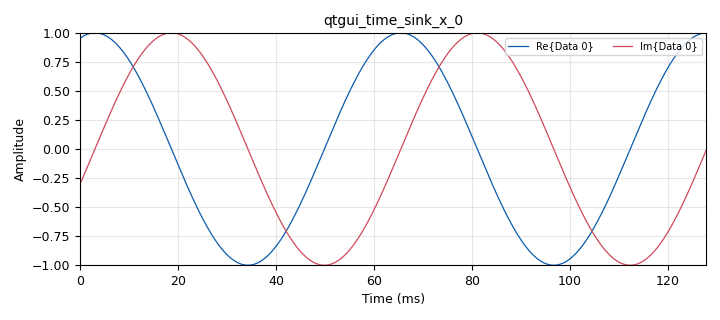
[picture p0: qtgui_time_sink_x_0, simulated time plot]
options:
  parameters:
    generate_options: qt_gui
    id: default
    output_language: python
    title: Not titled yet
  states: {}

blocks:
- name: samp_rate
  id: variable
  parameters:
    value: '32000'
  states: {}
- name: analog_sig_source_x_0
  id: analog_sig_source_x
  parameters:
    amp: '1'
    freq: '16'
    offset: '0'
    phase: '0'
    samp_rate: samp_rate
    type: complex
    waveform: analog.GR_COS_WAVE
  states: {}
- name: qtgui_time_sink_x_0
  id: qtgui_time_sink_x
  parameters:
    entags: 'False'
    size: '4096'
    srate: samp_rate
    type: complex
    update_time: '0.1'
  states: {}

connections:
- [analog_sig_source_x_0, '0', qtgui_time_sink_x_0, '0']

metadata:
  file_format: 1
  grc_version: 3.10.3.0
